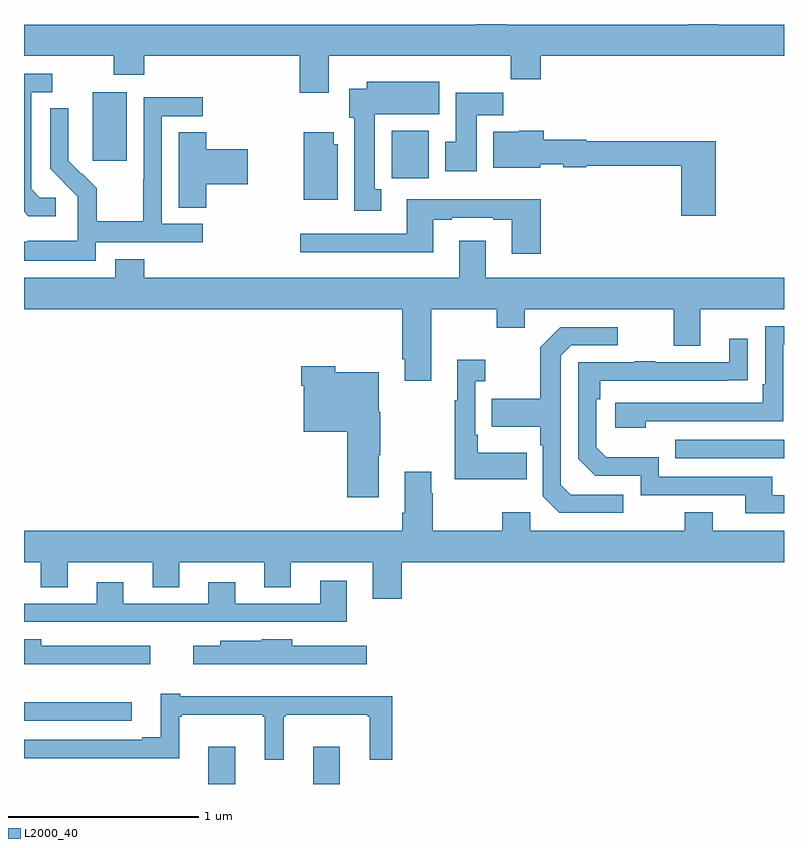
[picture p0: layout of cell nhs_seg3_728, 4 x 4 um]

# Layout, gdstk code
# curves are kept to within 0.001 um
import gdstk
lib = gdstk.Library(unit=1e-6, precision=1e-09)
def R(c, l, rs):  # rectangles x0, y0, x1, y1
    for r in rs: c.add(gdstk.rectangle(r[:2], r[2:], *l))
def P(c, l, *ps):  # polygons
    for p in ps: c.add(gdstk.Polygon(p, *l))
L2000_40 = (2000, 40)

nhs_seg3_728 = lib.new_cell('nhs_seg3_728')
R(nhs_seg3_728, L2000_40, [(147.971,714.4,148.111,714.595), (148.523,714.4,148.663,714.595), (147,714.732,147.568,714.83), (150.427,716.115,151,716.211), (148.935,717.588,149.131,717.838), (147.362,717.681,147.541,718.042)])
P(nhs_seg3_728, L2000_40, [(148.603,718.232),(149.563,718.232),(149.563,718.108),(149.72,718.108),(149.72,718.232),(151,718.232),(151,718.396),(150.65,718.396),(150.65,718.4),(150.497,718.4),(150.497,718.396),(149.537,718.396),(149.537,718.4),(149.381,718.4),(149.381,718.396),(147,718.396),(147,718.232),(147.472,718.232),(147.472,718.133),(147.632,718.133),(147.632,718.232),(148.451,718.232),(148.451,718.038),(148.603,718.038)],
  [(147.166,717.486),(147.084,717.486),(147.037,717.533),(147.037,718.041),(147.148,718.041),(147.148,718.137),(147,718.137),(147,717.411),(147.022,717.389),(147.166,717.389)],
  [(148.879,717.529),(148.846,717.529),(148.846,717.926),(149.185,717.926),(149.185,718.096),(148.805,718.096),(148.805,718.06),(148.712,718.06),(148.712,717.906),(148.739,717.906),(148.739,717.417),(148.879,717.417)],
  [(149.383,717.92),(149.522,717.92),(149.522,718.038),(149.273,718.038),(149.273,717.78),(149.216,717.78),(149.216,717.624),(149.383,717.624)],
  [(147.378,717.252),(147.94,717.252),(147.94,717.348),(147.726,717.348),(147.726,717.915),(147.94,717.915),(147.94,718.014),(147.63,718.014),(147.63,717.584),(147.628,717.584),(147.628,717.361),(147.383,717.361),(147.383,717.535),(147.306,717.612),(147.303,717.609),(147.233,717.68),(147.234,717.956),(147.138,717.956),(147.138,717.638),(147.284,717.49),(147.284,717.393),(147.282,717.393),(147.282,717.259),(147.019,717.259),(147.019,717.255),(147,717.255),(147,717.155),(147.378,717.155)],
  [(150.641,717.784),(149.958,717.784),(149.958,717.792),(149.735,717.792),(149.735,717.838),(149.604,717.838),(149.604,717.832),(149.471,717.832),(149.471,717.644),(149.718,717.644),(149.718,717.662),(149.838,717.662),(149.838,717.647),(149.958,717.647),(149.958,717.655),(150.458,717.655),(150.458,717.39),(150.641,717.39)],
  [(147.959,717.557),(148.177,717.557),(148.177,717.74),(147.959,717.74),(147.959,717.83),(147.815,717.83),(147.815,717.433),(147.959,717.433)],
  [(148.651,717.768),(148.63,717.768),(148.63,717.829),(148.472,717.829),(148.472,717.476),(148.651,717.476)],
  [(149.72,717.478),(149.015,717.478),(149.015,717.297),(148.455,717.297),(148.455,717.2),(149.155,717.2),(149.155,717.369),(149.251,717.369),(149.251,717.381),(149.471,717.381),(149.471,717.369),(149.567,717.369),(149.567,717.192),(149.72,717.192)],
  [(149.143,716.9),(149.488,716.9),(149.488,716.801),(149.635,716.801),(149.635,716.9),(150.419,716.9),(150.419,716.706),(150.559,716.706),(150.559,716.9),(151,716.9),(151,717.064),(149.431,717.064),(149.431,717.259),(149.291,717.259),(149.291,717.064),(147.632,717.064),(147.632,717.163),(147.479,717.163),(147.479,717.064),(147,717.064),(147,716.9),(148.991,716.9),(148.991,716.635),(149.003,716.635),(149.003,716.523),(149.143,716.523)],
  [(150.272,716.31),(150.996,716.31),(150.996,716.712),(151,716.712),(151,716.808),(150.9,716.808),(150.9,716.503),(150.887,716.503),(150.887,716.406),(150.111,716.406),(150.111,716.276),(150.272,716.276)],
  [(150.154,715.923),(149.877,715.923),(149.826,715.974),(149.826,716.655),(149.88,716.709),(150.124,716.709),(150.124,716.805),(149.823,716.805),(149.718,716.699),(149.718,716.427),(149.461,716.427),(149.461,716.279),(149.718,716.279),(149.718,716.183),(149.73,716.183),(149.73,715.914),(149.817,715.827),(150.154,715.827)],
  [(151,715.92),(150.937,715.92),(150.937,716.016),(150.342,716.016),(150.342,716.119),(150.065,716.119),(150.012,716.172),(150.012,716.426),(150.032,716.426),(150.032,716.523),(150.809,716.524),(150.809,716.743),(150.713,716.743),(150.713,716.619),(150.323,716.619),(150.323,716.624),(150.211,716.624),(150.211,716.619),(149.916,716.619),(149.916,716.112),(150.006,716.022),(150.246,716.022),(150.246,715.92),(150.797,715.92),(150.797,715.824),(151,715.824)],
  [(149.645,716.143),(149.389,716.143),(149.389,716.239),(149.376,716.239),(149.376,716.519),(149.428,716.519),(149.428,716.632),(149.279,716.632),(149.279,716.419),(149.268,716.419),(149.268,716.003),(149.645,716.003)],
  [(148.867,716.131),(148.875,716.131),(148.875,716.359),(148.867,716.359),(148.867,716.566),(148.638,716.566),(148.638,716.599),(148.46,716.599),(148.46,716.495),(148.472,716.495),(148.472,716.255),(148.7,716.255),(148.7,715.908),(148.867,715.908)],
  [(148.988,715.568),(151,715.568),(151,715.732),(150.625,715.732),(150.625,715.831),(150.478,715.831),(150.478,715.732),(149.664,715.732),(149.664,715.831),(149.518,715.831),(149.518,715.732),(149.151,715.732),(149.151,715.931),(149.143,715.931),(149.143,716.044),(149.003,716.044),(149.003,715.828),(148.991,715.828),(148.991,715.732),(147,715.732),(147,715.568),(147.089,715.568),(147.089,715.435),(147.229,715.435),(147.229,715.568),(147.677,715.568),(147.677,715.435),(147.817,715.435),(147.817,715.568),(148.265,715.568),(148.265,715.435),(148.405,715.435),(148.405,715.568),(148.835,715.568),(148.835,715.374),(148.988,715.374)],
  [(148.699,715.471),(148.559,715.471),(148.559,715.35),(148.111,715.35),(148.111,715.462),(147.971,715.462),(147.971,715.35),(147.523,715.35),(147.523,715.462),(147.383,715.462),(147.383,715.35),(147,715.35),(147,715.254),(148.699,715.254)],
  [(148.804,715.128),(148.411,715.128),(148.411,715.162),(148.251,715.162),(148.251,715.153),(148.032,715.153),(148.032,715.128),(147.891,715.128),(147.891,715.031),(148.804,715.031)],
  [(147.664,715.128),(147.091,715.128),(147.091,715.162),(147,715.162),(147,715.031),(147.664,715.031)],
  [(148.366,714.753),(148.378,714.753),(148.378,714.764),(148.809,714.764),(148.809,714.753),(148.82,714.753),(148.82,714.528),(148.937,714.528),(148.937,714.862),(147.823,714.862),(147.823,714.874),(147.719,714.874),(147.719,714.646),(147.623,714.646),(147.623,714.633),(147,714.633),(147,714.536),(147.817,714.536),(147.817,714.753),(147.829,714.753),(147.829,714.764),(148.257,714.764),(148.257,714.753),(148.268,714.753),(148.268,714.528),(148.366,714.528)])

lib.write_gds('nhs_seg3_728.gds')
